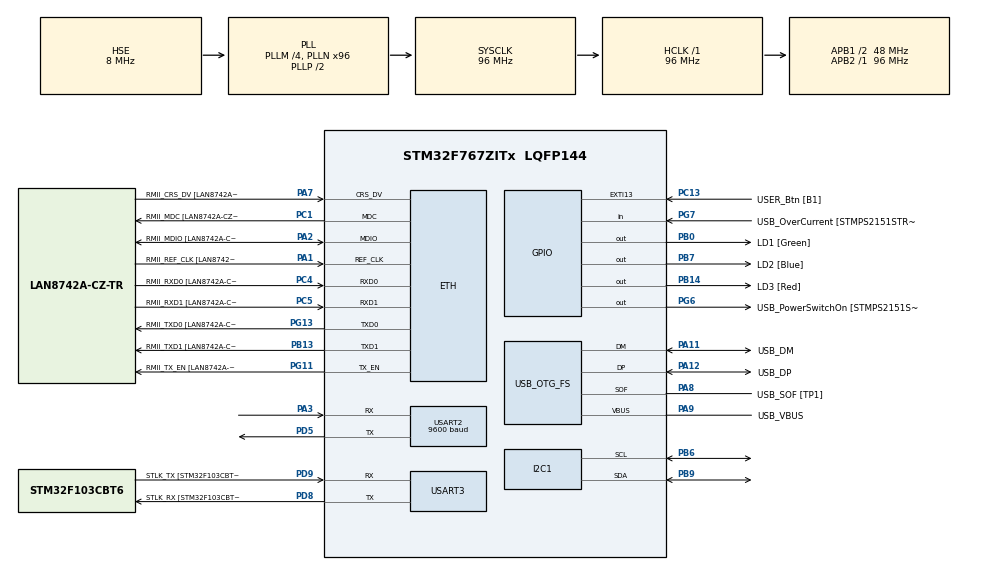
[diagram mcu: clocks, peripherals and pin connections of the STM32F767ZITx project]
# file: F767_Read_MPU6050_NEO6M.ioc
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CORTEX_M7.default_mode_Activation=1
ETH.MediaInterface=HAL_ETH_RMII_MODE
ETH.PHY_Name=LAN8742A_PHY_ADDRESS
ETH.PHY_Value=0
ETH.PhyAddress=0
I2C1.Timing=0x20303E5D
Mcu.Family=STM32F7
Mcu.Name=STM32F767ZITx
Mcu.Package=LQFP144
NVIC.PriorityGroup=NVIC_PRIORITYGROUP_4
NVIC.USART2_IRQn=true\:0\:0\:false\:false\:true\:true\:true\:true
PA1.GPIO_Label=RMII_REF_CLK [LAN8742A-CZ-TR_REFCLK0]
PA1.Mode=RMII
PA1.Signal=ETH_REF_CLK
PA10.GPIO_Label=USB_ID
PA10.Signal=USB_OTG_FS_ID
PA11.GPIO_Label=USB_DM
PA11.Mode=Device_Only
PA11.Signal=USB_OTG_FS_DM
PA12.GPIO_Label=USB_DP
PA12.Mode=Device_Only
PA12.Signal=USB_OTG_FS_DP
PA13.GPIO_Label=TMS
PA13.Mode=Serial_Wire
PA13.Signal=SYS_JTMS-SWDIO
PA14.GPIO_Label=TCK
PA14.Mode=Serial_Wire
PA14.Signal=SYS_JTCK-SWCLK
PA2.GPIO_Label=RMII_MDIO [LAN8742A-CZ-TR_MDIO]
PA2.Mode=RMII
PA2.Signal=ETH_MDIO
PA3.Mode=Asynchronous
PA3.Signal=USART2_RX
PA7.GPIO_Label=RMII_CRS_DV [LAN8742A-CZ-TR_CRS_DV]
PA7.Mode=RMII
PA7.Signal=ETH_CRS_DV
PA8.GPIO_Label=USB_SOF [TP1]
PA8.Mode=Activate_SOF_FS
PA8.Signal=USB_OTG_FS_SOF
PA9.GPIO_Label=USB_VBUS
PA9.Mode=Activate_VBUS
PA9.Signal=USB_OTG_FS_VBUS
PB0.GPIO_Label=LD1 [Green]
PB0.Signal=GPIO_Output
PB13.GPIO_Label=RMII_TXD1 [LAN8742A-CZ-TR_TXD1]
PB13.Mode=RMII
PB13.Signal=ETH_TXD1
PB14.GPIO_Label=LD3 [Red]
PB14.Signal=GPIO_Output
PB3.GPIO_Label=SWO
PB3.Signal=SYS_JTDO-SWO
PB6.Mode=I2C
PB6.Signal=I2C1_SCL
PB7.GPIO_Label=LD2 [Blue]
PB7.Signal=GPIO_Output
PB9.Mode=I2C
PB9.Signal=I2C1_SDA
PC1.GPIO_Label=RMII_MDC [LAN8742A-CZ-TR_MDC]
PC1.Mode=RMII
PC1.Signal=ETH_MDC
PC13.GPIO_Label=USER_Btn [B1]
PC13.Signal=GPXTI13
PC14/OSC32_IN.Mode=LSE-External-Oscillator
PC14/OSC32_IN.Signal=RCC_OSC32_IN
PC15/OSC32_OUT.Mode=LSE-External-Oscillator
PC15/OSC32_OUT.Signal=RCC_OSC32_OUT
PC4.GPIO_Label=RMII_RXD0 [LAN8742A-CZ-TR_RXD0]
PC4.Mode=RMII
PC4.Signal=ETH_RXD0
PC5.GPIO_Label=RMII_RXD1 [LAN8742A-CZ-TR_RXD1]
PC5.Mode=RMII
PC5.Signal=ETH_RXD1
PD5.Mode=Asynchronous
PD5.Signal=USART2_TX
PD8.GPIO_Label=STLK_RX [STM32F103CBT6_PA3]
PD8.Mode=Asynchronous
PD8.Signal=USART3_TX
PD9.GPIO_Label=STLK_TX [STM32F103CBT6_PA2]
PD9.Mode=Asynchronous
PD9.Signal=USART3_RX
PG11.GPIO_Label=RMII_TX_EN [LAN8742A-CZ-TR_TXEN]
PG11.Mode=RMII
PG11.Signal=ETH_TX_EN
PG13.GPIO_Label=RMII_TXD0 [LAN8742A-CZ-TR_TXD0]
PG13.Mode=RMII
PG13.Signal=ETH_TXD0
PG6.GPIO_Label=USB_PowerSwitchOn [STMPS2151STR_EN]
PG6.Signal=GPIO_Output
PG7.GPIO_Label=USB_OverCurrent [STMPS2151STR_FAULT]
PG7.Signal=GPIO_Input
PH0/OSC_IN.GPIO_Label=MCO [STM32F103CBT6_PA8]
PH0/OSC_IN.Mode=HSE-External-Clock-Source
PH0/OSC_IN.Signal=RCC_OSC_IN
PH1/OSC_OUT.Mode=HSE-External-Clock-Source
PH1/OSC_OUT.Signal=RCC_OSC_OUT
ProjectManager.HeapSize=0x200
ProjectManager.StackSize=0x400
ProjectManager.TargetToolchain=STM32CubeIDE
RCC.48MHZClocksFreq_Value=24000000
RCC.AHBFreq_Value=96000000
RCC.APB1CLKDivider=RCC_HCLK_DIV2
RCC.APB1Freq_Value=48000000
RCC.APB1TimFreq_Value=96000000
RCC.APB2Freq_Value=96000000
RCC.APB2TimFreq_Value=96000000
RCC.CortexFreq_Value=96000000
RCC.HCLKFreq_Value=96000000
RCC.HSE_VALUE=8000000
RCC.HSI_VALUE=16000000
RCC.PLLM=4
RCC.PLLMUL=RCC_PLL_MUL9
RCC.PLLN=96
RCC.PLLQ=4
RCC.PRESCALERUSB=RCC_USBCLKSOURCE_PLL_DIV1_5
RCC.SYSCLKFreq_VALUE=96000000
RCC.SYSCLKSource=RCC_SYSCLKSOURCE_PLLCLK
RCC.SYSCLKSourceVirtual=RCC_SYSCLKSOURCE_PLLCLK
RCC.USBFreq_Value=48000000
RCC.VCOOutputFreq_Value=192000000
USART2.BaudRate=9600
USART2.VirtualMode-Asynchronous=VM_ASYNC
USART3.VirtualMode-Asynchronous=VM_ASYNC
USB_OTG_FS.VirtualMode=Device_Only
board=NUCLEO-F767ZI

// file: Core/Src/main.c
/* USER CODE BEGIN Header */
/* F767_Read_MPU6050_NEO6M */
/**
  ******************************************************************************
  * @file           : main.c
  * @brief          : Main program body
  ******************************************************************************
  * @attention
  *
  * Copyright (c) 2026 STMicroelectronics.
  * All rights reserved.
  *
  * This software is licensed under terms that can be found in the LICENSE file
  * in the root directory of this software component.
  * If no LICENSE file comes with this software, it is provided AS-IS.
  *
  ******************************************************************************
  */
/* USER CODE END Header */
#include "main.h"
#include "string.h"

/* USER CODE BEGIN Includes */
#include <stdio.h>
#include <stdlib.h>
#include <stdint.h>
/* USER CODE END Includes */

#if defined ( __ICCARM__ ) /*!< IAR Compiler */
#pragma location=0x2007c000
ETH_DMADescTypeDef  DMARxDscrTab[ETH_RX_DESC_CNT]; /* Ethernet Rx DMA Descriptors */
#pragma location=0x2007c0a0
ETH_DMADescTypeDef  DMATxDscrTab[ETH_TX_DESC_CNT]; /* Ethernet Tx DMA Descriptors */

#elif defined ( __CC_ARM )  /* MDK ARM Compiler */

__attribute__((at(0x2007c000))) ETH_DMADescTypeDef  DMARxDscrTab[ETH_RX_DESC_CNT]; /* Ethernet Rx DMA Descriptors */
__attribute__((at(0x2007c0a0))) ETH_DMADescTypeDef  DMATxDscrTab[ETH_TX_DESC_CNT]; /* Ethernet Tx DMA Descriptors */

#elif defined ( __GNUC__ ) /* GNU Compiler */

ETH_DMADescTypeDef DMARxDscrTab[ETH_RX_DESC_CNT] __attribute__((section(".RxDecripSection"))); /* Ethernet Rx DMA Descriptors */
ETH_DMADescTypeDef DMATxDscrTab[ETH_TX_DESC_CNT] __attribute__((section(".TxDecripSection")));   /* Ethernet Tx DMA Descriptors */
#endif

ETH_TxPacketConfig TxConfig;

ETH_HandleTypeDef heth;

I2C_HandleTypeDef hi2c1;

UART_HandleTypeDef huart2;
UART_HandleTypeDef huart3;

PCD_HandleTypeDef hpcd_USB_OTG_FS;

void SystemClock_Config(void);
static void MPU_Config(void);
static void MX_GPIO_Init(void);
static void MX_ETH_Init(void);
static void MX_I2C1_Init(void);
static void MX_USART2_UART_Init(void);
static void MX_USART3_UART_Init(void);
static void MX_USB_OTG_FS_PCD_Init(void);

/* USER CODE BEGIN 0 */
extern I2C_HandleTypeDef hi2c1;
extern UART_HandleTypeDef huart2;   // GPS
extern UART_HandleTypeDef huart3;   // PuTTy monitor

// USART3 printf redirect
int _write(int file, char *ptr, int len)
{
  (void)file;
  HAL_UART_Transmit(&huart3, (uint8_t*)ptr, (uint16_t)len, HAL_MAX_DELAY);
  return len;
} // end function _write

// MPU6050 (I2C) minial driver
#define MPU_ADDR_7_BIT    0x68
#define MPU_ADDR          (MPU_ADDR_7_BIT << 1)

#define MPU_REG_PWR_MGMT1   0x6B
#define MPU_REG_ACCEL_XOUT  0x3B

typedef struct
{
  int16_t ax , ay , az;
  int16_t gx , gy , gz;
  int16_t temp_raw;
  uint8_t ok;
} mpu6050_t;

static mpu6050_t mpu;

// Initialize MPU6050
static uint8_t mpu6050_init(void)
{
  uint8_t data = 0x00; // wake up
  if (HAL_I2C_Mem_Write(&hi2c1 , MPU_ADDR , MPU_REG_PWR_MGMT1 , 1 , &data , 1 , 100) != HAL_OK)
  {
    mpu.ok = 0;
    return 0;
  } // end if
  mpu.ok = 1;
  return 1;
} // end function mpu6050_init

static uint8_t mpu6050_read14(void)
{
  uint8_t buf[14];
  if (HAL_I2C_Mem_Read(&hi2c1, MPU_ADDR , MPU_REG_ACCEL_XOUT , 1 , buf , 14 , 100) != HAL_OK)
  {
    mpu.ok = 0;
    return 0;
  } // end if

  mpu.ax = (int16_t)((buf[0] << 8) | buf[1]);
  mpu.ay = (int16_t)((buf[2] << 8) | buf[3]);
  mpu.az = (int16_t)((buf[4] << 8) | buf[5]);

  mpu.temp_raw = (int16_t)((buf[6] << 8) | buf[7]);

  mpu.gx = (int16_t)((buf[8] << 8) | buf[9]);
  mpu.gy = (int16_t)((buf[10] << 8) | buf[11]);
  mpu.gz = (int16_t)((buf[12] << 8) | buf[13]);

  mpu.ok = 1;
  return 1;
} // end function mpu6050_read14

// Temp = in 0.01 degC (avoid folat printf)
// Temp(degC) = raw / 340 + 36.53
static int32_t mpu6050_temp_c_x100(void)
{
  return (int32_t)mpu.temp_raw * 100 / 340 + 3653;
} // end function mpu6050_temp_c_x100

// GPS (USART2) NMEA RX + parse GGA
// Output lat/lon as int32 in 1e-5 (22.54321 -> 2254321)
typedef struct
{
  uint8_t has_fix;
  uint8_t sats;
  int32_t lat_e5;   // deg * 1e5
  int32_t lon_e5;
  uint32_t last_rx_ms;
  uint32_t last_fix_ms;
} gps_t;

static gps_t gps;

static uint8_t gps_rx_byte;
static char gps_line[128];
static uint32_t gps_idx = 0;

static int32_t nmea_degmin_to_e5(const  char *degmin, char hemi)
{
  // degmin: ddmm.mmmm (lat) or dddmm.mmmm (lon)
  // return degrees * 1e5
  if (degmin == NULL || degmin[0] == '\0') return 0;

  double raw = atof(degmin);
  int deg = (int)(raw / 100.0);
  double minute = raw - (double)deg * 100;
  double dec = (double)deg + minute / 60;

  if (hemi == 'S' || hemi == 'W') dec = -dec;

  double e5 = dec * 100000.00;
  if (e5 >= 0) return (int32_t)(e5 + 0.5);
  else          return (int32_t)(e5 - 0.5);
} // end function nmea_degmin_to_e5

static void gps_parse_gga(const char *line)
{
  // printf("Raw: %s" , line);
  // Accept $GPGGA or $GNGGA
  if (strncmp(line, "$GPGGA" , 6) != 0 && strncmp(line , "$GNGGA" , 6) != 0) return;

  // Cope to temp buffer then tokenize
  char tmp[128];
  strncpy(tmp, line, sizeof(tmp) - 1);
  tmp[sizeof(tmp) - 1] = '\0';

  // fields:
  // 0=$GxGGA,1=UTC,2=lat,3=N/S,4=lon,5=E/W,6=fix,7=sats,...
  char *save = NULL;
  char *tok = strtok_r(tmp , "," , &save);

  int field = 0;
  const char *lat_s = NULL;
  const char *lon_s = NULL;
  char lat_h = 0, lon_h = 0;
  int fix = 0;
  int sats = 0;

  while (tok)
  {
    if (field == 2) lat_s = tok;
    if (field == 3) lat_h = tok[0];
    if (field == 4) lon_s = tok;
    if (field == 5) lon_h = tok[0];
    if (field == 6) fix = atoi(tok);
    if (field == 7) sats = atoi(tok);

    tok = strtok_r(NULL , "," , &save);
    field++;
  } // end while

  gps.has_fix = (fix > 0) ? 1 : 0;
  gps.sats = (uint8_t)sats;

  if (gps.has_fix && lat_s && lon_s && lat_h && lon_h)
  {
    gps.lat_e5 = nmea_degmin_to_e5(lat_s , lat_h);
    gps.lon_e5 = nmea_degmin_to_e5(lon_s , lon_h);
    gps.last_fix_ms = HAL_GetTick();
  } // end if
} // end function gps_parse_gga

static void gps_start_rx_it(void)
{
  gps.last_rx_ms = HAL_GetTick();
  HAL_UART_Receive_IT(&huart2 , &gps_rx_byte , 1);
} // end function gps_start_rx_it

// USART2 RX interrupt callback
void HAL_UART_RxCpltCallback(UART_HandleTypeDef *huart)
{
  if (huart->Instance == USART2)
  {
    gps.last_rx_ms = HAL_GetTick();

    if (gps_idx < sizeof(gps_line) - 1)
    {
      gps_line[gps_idx++] = (char)gps_rx_byte;
    } // end if

    if (gps_rx_byte == '\n')
    {
      gps_line[gps_idx] = '\0';
      gps_parse_gga(gps_line);
      gps_idx = 0;
    } // end if

    HAL_UART_Receive_IT(&huart2 , &gps_rx_byte , 1);
  } // end if
} // end function HAL_UART_RxCpltCallback

static void i2c_scan_print(void)
{
  printf("I2C scan start...\r\n");
  for (uint8_t addr = 1; addr < 127; addr++)
  {
    if (HAL_I2C_IsDeviceReady(&hi2c1, (uint16_t)(addr << 1) , 2 , 20) == HAL_OK)
    {
      printf("  Found device at 0x%02X.\r\n" , addr);
    } // end if
  } // end for
} // end function i2c_scan_print
/* USER CODE END 0 */

int main(void)
{

  /* MPU Configuration--------------------------------------------------------*/
  MPU_Config();

  /* MCU Configuration--------------------------------------------------------*/

  /* Reset of all peripherals, Initializes the Flash interface and the Systick. */
  HAL_Init();

  /* Configure the system clock */
  SystemClock_Config();

  /* Initialize all configured peripherals */
  MX_GPIO_Init();
  MX_ETH_Init();
  MX_I2C1_Init();
  MX_USART2_UART_Init();
  MX_USART3_UART_Init();
  MX_USB_OTG_FS_PCD_Init();
  /* USER CODE BEGIN 2 */
  printf("\r\n=== Stage 3: MPU6050(I2C) + NEO-6M(USART2) Monitor (USART3 -> PuTTy) === \r\n");
  printf("Print period: 0.5 s | LD2 toggles every print.\r\n");
  i2c_scan_print();
  // Init MPU6050
  if (mpu6050_init())
  {
    printf("MPU6050 init: OK.\r\n");
  } // end if
  else
  {
    printf("MPU6050 init FAIL: (check I2C wiring/address)\r\n");
  } // end else

  // check who am i
  uint8_t who = 0xFF;
  HAL_I2C_Mem_Read(&hi2c1, MPU_ADDR , 0x75 , 1 , &who , 1 , 100);
  printf("MPU WHO_AM_I = 0x%02X\r\n" , who);

  // Start GPS Rx interrupt (USART2)
  gps_start_rx_it();
  printf("GPS RX (USART2) started.\r\n");

  /* USER CODE END 2 */

  /* Infinite loop */
  /* USER CODE BEGIN WHILE */
  while (1)
  {
    static uint32_t last_print_ms = 0;
    uint32_t now = HAL_GetTick();

    if ((now - last_print_ms) >= 500)
    {
      last_print_ms = now;

      // Toggle LD2 (Blue LED) every report
      HAL_GPIO_TogglePin(GPIOB , LD2_Pin);

      // Read MCU
      uint8_t mpu_ok = mpu6050_read14();
      int32_t temp_c_x100 = mpu6050_temp_c_x100();

      // GPS age INFO
      uint32_t gps_rx_age = now - gps.last_rx_ms;
      uint32_t gps_fix_age = now - gps.last_fix_ms;

      // Print
      if (mpu_ok)
      {
        printf("t=%lums | MPU ax=%d ay=%d az=%d gx=%d gy=%d gz=%d temp=%ld.%02ldC |",
        (unsigned long)now,
        mpu.ax, -mpu.ay, -mpu.az,
        mpu.gx, -mpu.gy, -mpu.gz,
        (long)(temp_c_x100 / 100),
        (long)labs(temp_c_x100 % 100));
      } // end if

      else
      {
        printf("t=%lums | MPU READ FAIL | ", (unsigned long)now);
      }

      // GPS print
      if (gps_rx_age > 2000)
      {
        printf("GPS: NO DATA (rx_age=%lums).\r\n",(unsigned long)gps_rx_age);
      } // end if
      else if (!gps.has_fix)
      {
        printf("GPS: NO FIX (sats=%u, fix_age=%lums).\r\n",gps.sats,(unsigned long)gps_fix_age);
      } // end else if
      else
      {
        // Print as decimal with 5 digits after decimal without float
        int32_t lat = gps.lat_e5;
        int32_t lon = gps.lon_e5;

        printf("GPS: FIX sats=%u lat=%ld.%05ld lon=%ld.%05ld (fix_age=%lums).\r\n",
        gps.sats,
        (long)(lat / 100000), (long)labs(lat % 100000),
        (long)(lon / 100000), (long)labs(lon % 100000),
        (unsigned long)gps_fix_age);
      } // end else
    } // end if

    /* USER CODE END WHILE */

  }
}

void SystemClock_Config(void)
{
  RCC_OscInitTypeDef RCC_OscInitStruct = {0};
  RCC_ClkInitTypeDef RCC_ClkInitStruct = {0};

  /** Configure LSE Drive Capability
  */
  HAL_PWR_EnableBkUpAccess();

  /** Configure the main internal regulator output voltage
  */
  __HAL_RCC_PWR_CLK_ENABLE();
  __HAL_PWR_VOLTAGESCALING_CONFIG(PWR_REGULATOR_VOLTAGE_SCALE3);

  /** Initializes the RCC Oscillators according to the specified parameters
  * in the RCC_OscInitTypeDef structure.
  */
  RCC_OscInitStruct.OscillatorType = RCC_OSCILLATORTYPE_HSE;
  RCC_OscInitStruct.HSEState = RCC_HSE_BYPASS;
  RCC_OscInitStruct.PLL.PLLState = RCC_PLL_ON;
  RCC_OscInitStruct.PLL.PLLSource = RCC_PLLSOURCE_HSE;
  RCC_OscInitStruct.PLL.PLLM = 4;
  RCC_OscInitStruct.PLL.PLLN = 96;
  RCC_OscInitStruct.PLL.PLLP = RCC_PLLP_DIV2;
  RCC_OscInitStruct.PLL.PLLQ = 4;
  RCC_OscInitStruct.PLL.PLLR = 2;
  if (HAL_RCC_OscConfig(&RCC_OscInitStruct) != HAL_OK)
  {
    Error_Handler();
  }

  /** Activate the Over-Drive mode
  */
  if (HAL_PWREx_EnableOverDrive() != HAL_OK)
  {
    Error_Handler();
  }

  /** Initializes the CPU, AHB and APB buses clocks
  */
  RCC_ClkInitStruct.ClockType = RCC_CLOCKTYPE_HCLK|RCC_CLOCKTYPE_SYSCLK
                              |RCC_CLOCKTYPE_PCLK1|RCC_CLOCKTYPE_PCLK2;
  RCC_ClkInitStruct.SYSCLKSource = RCC_SYSCLKSOURCE_PLLCLK;
  RCC_ClkInitStruct.AHBCLKDivider = RCC_SYSCLK_DIV1;
  RCC_ClkInitStruct.APB1CLKDivider = RCC_HCLK_DIV2;
  RCC_ClkInitStruct.APB2CLKDivider = RCC_HCLK_DIV1;

  if (HAL_RCC_ClockConfig(&RCC_ClkInitStruct, FLASH_LATENCY_3) != HAL_OK)
  {
    Error_Handler();
  }
}

static void MX_ETH_Init(void)
{

   static uint8_t MACAddr[6];

  heth.Instance = ETH;
  MACAddr[0] = 0x00;
  MACAddr[1] = 0x80;
  MACAddr[2] = 0xE1;
  MACAddr[3] = 0x00;
  MACAddr[4] = 0x00;
  MACAddr[5] = 0x00;
  heth.Init.MACAddr = &MACAddr[0];
  heth.Init.MediaInterface = HAL_ETH_RMII_MODE;
  heth.Init.TxDesc = DMATxDscrTab;
  heth.Init.RxDesc = DMARxDscrTab;
  heth.Init.RxBuffLen = 1524;

  if (HAL_ETH_Init(&heth) != HAL_OK)
  {
    Error_Handler();
  }

  memset(&TxConfig, 0 , sizeof(ETH_TxPacketConfig));
  TxConfig.Attributes = ETH_TX_PACKETS_FEATURES_CSUM | ETH_TX_PACKETS_FEATURES_CRCPAD;
  TxConfig.ChecksumCtrl = ETH_CHECKSUM_IPHDR_PAYLOAD_INSERT_PHDR_CALC;
  TxConfig.CRCPadCtrl = ETH_CRC_PAD_INSERT;

}

static void MX_I2C1_Init(void)
{

  hi2c1.Instance = I2C1;
  hi2c1.Init.Timing = 0x20303E5D;
  hi2c1.Init.OwnAddress1 = 0;
  hi2c1.Init.AddressingMode = I2C_ADDRESSINGMODE_7BIT;
  hi2c1.Init.DualAddressMode = I2C_DUALADDRESS_DISABLE;
  hi2c1.Init.OwnAddress2 = 0;
  hi2c1.Init.OwnAddress2Masks = I2C_OA2_NOMASK;
  hi2c1.Init.GeneralCallMode = I2C_GENERALCALL_DISABLE;
  hi2c1.Init.NoStretchMode = I2C_NOSTRETCH_DISABLE;
  if (HAL_I2C_Init(&hi2c1) != HAL_OK)
  {
    Error_Handler();
  }

  /** Configure Analogue filter
  */
  if (HAL_I2CEx_ConfigAnalogFilter(&hi2c1, I2C_ANALOGFILTER_ENABLE) != HAL_OK)
  {
    Error_Handler();
  }

  /** Configure Digital filter
  */
  if (HAL_I2CEx_ConfigDigitalFilter(&hi2c1, 0) != HAL_OK)
  {
    Error_Handler();
  }

}

static void MX_USART2_UART_Init(void)
{

  huart2.Instance = USART2;
  huart2.Init.BaudRate = 9600;
  huart2.Init.WordLength = UART_WORDLENGTH_8B;
  huart2.Init.StopBits = UART_STOPBITS_1;
  huart2.Init.Parity = UART_PARITY_NONE;
  huart2.Init.Mode = UART_MODE_TX_RX;
  huart2.Init.HwFlowCtl = UART_HWCONTROL_NONE;
  huart2.Init.OverSampling = UART_OVERSAMPLING_16;
  huart2.Init.OneBitSampling = UART_ONE_BIT_SAMPLE_DISABLE;
  huart2.AdvancedInit.AdvFeatureInit = UART_ADVFEATURE_NO_INIT;
  if (HAL_UART_Init(&huart2) != HAL_OK)
  {
    Error_Handler();
  }

}

static void MX_USART3_UART_Init(void)
{

  huart3.Instance = USART3;
  huart3.Init.BaudRate = 115200;
  huart3.Init.WordLength = UART_WORDLENGTH_8B;
  huart3.Init.StopBits = UART_STOPBITS_1;
  huart3.Init.Parity = UART_PARITY_NONE;
  huart3.Init.Mode = UART_MODE_TX_RX;
  huart3.Init.HwFlowCtl = UART_HWCONTROL_NONE;
  huart3.Init.OverSampling = UART_OVERSAMPLING_16;
  huart3.Init.OneBitSampling = UART_ONE_BIT_SAMPLE_DISABLE;
  huart3.AdvancedInit.AdvFeatureInit = UART_ADVFEATURE_NO_INIT;
  if (HAL_UART_Init(&huart3) != HAL_OK)
  {
    Error_Handler();
  }

}

static void MX_USB_OTG_FS_PCD_Init(void)
{

  hpcd_USB_OTG_FS.Instance = USB_OTG_FS;
  hpcd_USB_OTG_FS.Init.dev_endpoints = 6;
  hpcd_USB_OTG_FS.Init.speed = PCD_SPEED_FULL;
  hpcd_USB_OTG_FS.Init.dma_enable = DISABLE;
  hpcd_USB_OTG_FS.Init.phy_itface = PCD_PHY_EMBEDDED;
  hpcd_USB_OTG_FS.Init.Sof_enable = ENABLE;
  hpcd_USB_OTG_FS.Init.low_power_enable = DISABLE;
  hpcd_USB_OTG_FS.Init.lpm_enable = DISABLE;
  hpcd_USB_OTG_FS.Init.vbus_sensing_enable = ENABLE;
  hpcd_USB_OTG_FS.Init.use_dedicated_ep1 = DISABLE;
  if (HAL_PCD_Init(&hpcd_USB_OTG_FS) != HAL_OK)
  {
    Error_Handler();
  }

}

static void MX_GPIO_Init(void)
{
  GPIO_InitTypeDef GPIO_InitStruct = {0};

  /* GPIO Ports Clock Enable */
  __HAL_RCC_GPIOC_CLK_ENABLE();
  __HAL_RCC_GPIOH_CLK_ENABLE();
  __HAL_RCC_GPIOA_CLK_ENABLE();
  __HAL_RCC_GPIOB_CLK_ENABLE();
  __HAL_RCC_GPIOD_CLK_ENABLE();
  __HAL_RCC_GPIOG_CLK_ENABLE();

  /*Configure GPIO pin Output Level */
  HAL_GPIO_WritePin(GPIOB, LD1_Pin|LD3_Pin|LD2_Pin, GPIO_PIN_RESET);

  /*Configure GPIO pin Output Level */
  HAL_GPIO_WritePin(USB_PowerSwitchOn_GPIO_Port, USB_PowerSwitchOn_Pin, GPIO_PIN_RESET);

  /*Configure GPIO pin : USER_Btn_Pin */
  GPIO_InitStruct.Pin = USER_Btn_Pin;
  GPIO_InitStruct.Mode = GPIO_MODE_IT_RISING;
  GPIO_InitStruct.Pull = GPIO_NOPULL;
  HAL_GPIO_Init(USER_Btn_GPIO_Port, &GPIO_InitStruct);

  /*Configure GPIO pins : LD1_Pin LD3_Pin LD2_Pin */
  GPIO_InitStruct.Pin = LD1_Pin|LD3_Pin|LD2_Pin;
  GPIO_InitStruct.Mode = GPIO_MODE_OUTPUT_PP;
  GPIO_InitStruct.Pull = GPIO_NOPULL;
  GPIO_InitStruct.Speed = GPIO_SPEED_FREQ_LOW;
  HAL_GPIO_Init(GPIOB, &GPIO_InitStruct);

  /*Configure GPIO pin : USB_PowerSwitchOn_Pin */
  GPIO_InitStruct.Pin = USB_PowerSwitchOn_Pin;
  GPIO_InitStruct.Mode = GPIO_MODE_OUTPUT_PP;
  GPIO_InitStruct.Pull = GPIO_NOPULL;
  GPIO_InitStruct.Speed = GPIO_SPEED_FREQ_LOW;
  HAL_GPIO_Init(USB_PowerSwitchOn_GPIO_Port, &GPIO_InitStruct);

  /*Configure GPIO pin : USB_OverCurrent_Pin */
  GPIO_InitStruct.Pin = USB_OverCurrent_Pin;
  GPIO_InitStruct.Mode = GPIO_MODE_INPUT;
  GPIO_InitStruct.Pull = GPIO_NOPULL;
  HAL_GPIO_Init(USB_OverCurrent_GPIO_Port, &GPIO_InitStruct);

}

 /* MPU Configuration */

void MPU_Config(void)
{
  MPU_Region_InitTypeDef MPU_InitStruct = {0};

  /* Disables the MPU */
  HAL_MPU_Disable();

  /** Initializes and configures the Region and the memory to be protected
  */
  MPU_InitStruct.Enable = MPU_REGION_ENABLE;
  MPU_InitStruct.Number = MPU_REGION_NUMBER0;
  MPU_InitStruct.BaseAddress = 0x0;
  MPU_InitStruct.Size = MPU_REGION_SIZE_4GB;
  MPU_InitStruct.SubRegionDisable = 0x87;
  MPU_InitStruct.TypeExtField = MPU_TEX_LEVEL0;
  MPU_InitStruct.AccessPermission = MPU_REGION_NO_ACCESS;
  MPU_InitStruct.DisableExec = MPU_INSTRUCTION_ACCESS_DISABLE;
  MPU_InitStruct.IsShareable = MPU_ACCESS_SHAREABLE;
  MPU_InitStruct.IsCacheable = MPU_ACCESS_NOT_CACHEABLE;
  MPU_InitStruct.IsBufferable = MPU_ACCESS_NOT_BUFFERABLE;

  HAL_MPU_ConfigRegion(&MPU_InitStruct);
  /* Enables the MPU */
  HAL_MPU_Enable(MPU_PRIVILEGED_DEFAULT);

}

void Error_Handler(void)
{
  __disable_irq();
  while (1)
  {
  }
}
